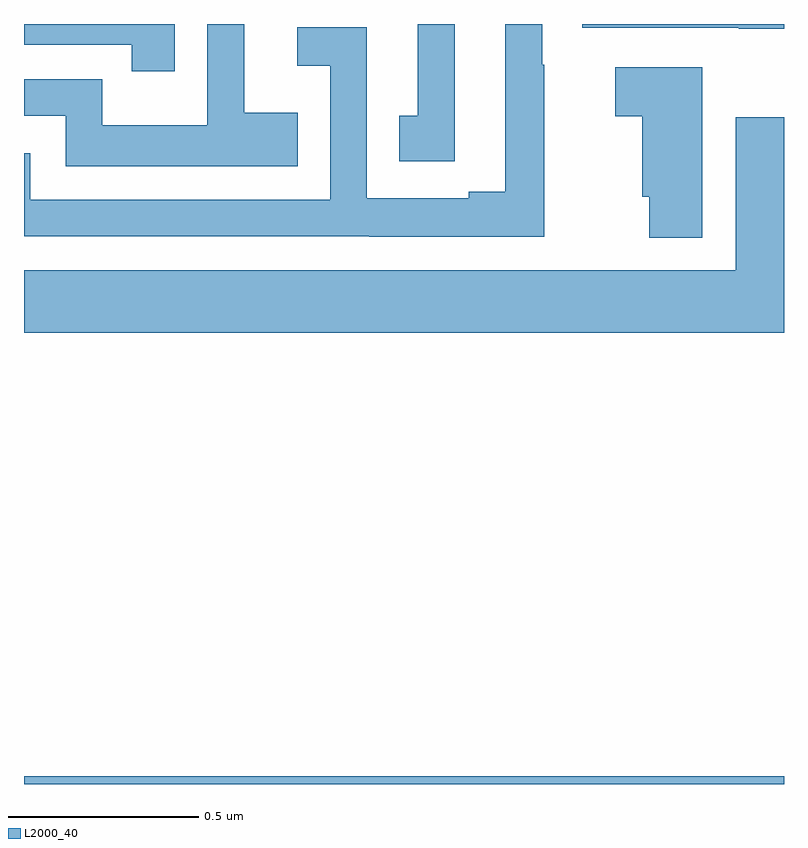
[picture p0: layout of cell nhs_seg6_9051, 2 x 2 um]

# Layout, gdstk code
import gdstk
lib = gdstk.Library(unit=1e-6, precision=1e-09)
def R(c, l, rs):  # rectangles x0, y0, x1, y1
    for r in rs: c.add(gdstk.rectangle(r[:2], r[2:], *l))
def P(c, l, *ps):  # polygons
    for p in ps: c.add(gdstk.Polygon(p, *l))
L2000_40 = (2000, 40)

nhs_seg6_9051 = lib.new_cell('nhs_seg6_9051')
R(nhs_seg6_9051, L2000_40, [(229,927.5,231,927.52)])
P(nhs_seg6_9051, L2000_40, [(229.721,929.266),(229.579,929.266),(229.579,929.5),(229.482,929.5),(229.482,929.233),(229.206,929.233),(229.206,929.354),(229.103,929.354),(229.103,929.355),(229,929.355),(229,929.259),(229.11,929.259),(229.11,929.126),(229.721,929.126)],
  [(230.369,929.393),(230.364,929.393),(230.364,929.5),(230.267,929.5),(230.267,929.059),(230.171,929.059),(230.171,929.041),(229.902,929.041),(229.902,929.491),(229.719,929.491),(229.719,929.39),(229.806,929.39),(229.806,929.037),(229.017,929.037),(229.017,929.16),(229,929.16),(229,928.941),(229.909,928.941),(229.909,928.94),(230.369,928.94)],
  [(231,929.5),(230.469,929.5),(230.469,929.49),(230.881,929.49),(230.881,929.488),(231,929.488)],
  [(230.134,929.462),(230.133,929.462),(230.133,929.5),(230.036,929.5),(230.036,929.259),(229.987,929.259),(229.987,929.139),(230.134,929.139)],
  [(229.397,929.5),(229,929.5),(229,929.445),(229.284,929.445),(229.284,929.376),(229.397,929.376)],
  [(230.785,929.386),(230.556,929.386),(230.556,929.257),(230.627,929.257),(230.627,929.046),(230.645,929.046),(230.645,928.937),(230.785,928.937)],
  [(231,929.254),(230.873,929.254),(230.873,928.852),(229,928.852),(229,928.688),(231,928.688)])

lib.write_gds('nhs_seg6_9051.gds')
